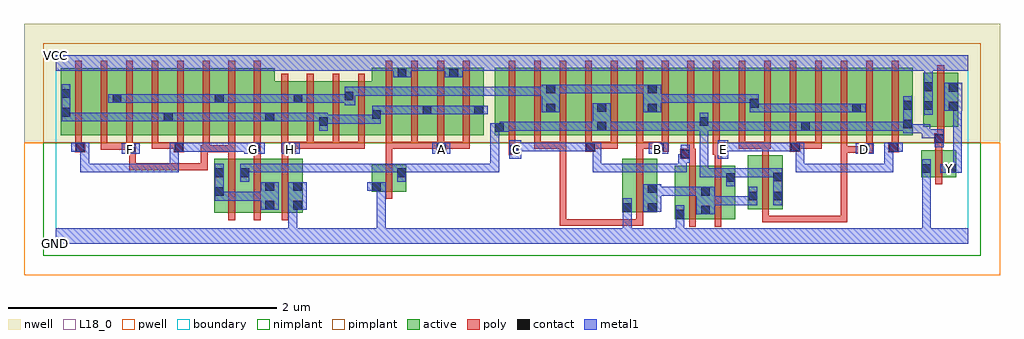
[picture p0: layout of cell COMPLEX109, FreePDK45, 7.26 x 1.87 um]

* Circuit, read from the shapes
.subckt COMPLEX109 A B C D E F G GND H VCC Y
M1 n1 F n2 VSUBS nfet w=0.4u l=0.05u
M2 n2 G n1 VSUBS nfet w=0.4u l=0.05u
M3 GND H n2 VSUBS nfet w=0.4u l=0.05u
M4 n1 A GND VSUBS nfet w=0.2u l=0.05u
M5 n3 B GND VSUBS nfet w=0.4u l=0.05u
M6 n3 C GND VSUBS nfet w=0.4u l=0.05u
M7 n1 E n3 VSUBS nfet w=0.4u l=0.05u
M8 n1 D n3 VSUBS nfet w=0.4u l=0.05u
M9 Y n1 GND VSUBS nfet w=0.2u l=0.05u
M10 n4 G n5 n6 pfet w=0.5u l=0.05u
M11 n7 F n4 n6 pfet w=0.5u l=0.05u
M12 n8 F n7 n6 pfet w=0.5u l=0.05u
M13 n5 G n8 n6 pfet w=0.5u l=0.05u
M14 n9 G n5 n6 pfet w=0.5u l=0.05u
M15 n7 F n9 n6 pfet w=0.5u l=0.05u
M16 n10 F n7 n6 pfet w=0.5u l=0.05u
M17 n5 G n10 n6 pfet w=0.5u l=0.05u
M18 n7 H n5 n6 pfet w=0.4u l=0.05u m=4
M19 VCC A n5 n6 pfet w=0.5u l=0.05u m=4
M20 n11 C n1 n6 pfet w=0.5u l=0.05u
M21 n7 B n11 n6 pfet w=0.5u l=0.05u
M22 n12 B n7 n6 pfet w=0.5u l=0.05u
M23 n1 C n12 n6 pfet w=0.5u l=0.05u
M24 n13 C n1 n6 pfet w=0.5u l=0.05u
M25 n7 B n13 n6 pfet w=0.5u l=0.05u
M26 n14 B n7 n6 pfet w=0.5u l=0.05u
M27 n1 C n14 n6 pfet w=0.5u l=0.05u
M28 n15 E n1 n6 pfet w=0.5u l=0.05u
M29 n7 D n15 n6 pfet w=0.5u l=0.05u
M30 n16 D n7 n6 pfet w=0.5u l=0.05u
M31 n1 E n16 n6 pfet w=0.5u l=0.05u
M32 n17 E n1 n6 pfet w=0.5u l=0.05u
M33 n7 D n17 n6 pfet w=0.5u l=0.05u
M34 n18 D n7 n6 pfet w=0.5u l=0.05u
M35 n1 E n18 n6 pfet w=0.5u l=0.05u
M36 Y n1 VCC n6 pfet w=0.4u l=0.05u
.ends

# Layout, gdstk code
import gdstk
lib = gdstk.Library(unit=1e-6, precision=1e-09)
def R(c, l, rs):  # rectangles x0, y0, x1, y1
    for r in rs: c.add(gdstk.rectangle(r[:2], r[2:], *l))
def A(c, l, x, y, w, h, nx, ny, dx, dy):  # array of equal rectangles
    R(c, l, [(x+i*dx, y+j*dy, x+i*dx+w, y+j*dy+h) for i in range(nx) for j in range(ny)])
active = (1, 0)
pwell = (2, 0)
nwell = (3, 0)
nimplant = (4, 0)
pimplant = (5, 0)
poly = (9, 0)
contact = (10, 0)
metal1 = (11, 0)
L18_0 = (18, 0)
boundary = (235, 0)

complex109 = lib.new_cell('COMPLEX109')
A(complex109, active, 0.04, 0.805, 0.225, 0.5, 4, 1, 0.38, 0)
A(complex109, active, 0.265, 0.805, 0.23, 0.5, 3, 1, 0.38, 0)
A(complex109, active, 3.265, 0.807, 0.225, 0.5, 3, 1, 0.38, 0)
A(complex109, active, 4.4, 0.807, 0.075, 0.393, 3, 1, 0.76, 0)
A(complex109, active, 5.01, 0.807, 0.225, 0.5, 4, 1, 0.38, 0)
A(complex109, active, 5.16, 0.807, 0.23, 0.5, 3, 1, 0.38, 0)
R(complex109, active, [(4.607,0.18,4.872,0.58), (4.607,0.18,4.682,0.487), (4.797,0.18,5.057,0.58), (4.797,0.2,4.872,0.492), (1.18,0.23,1.255,0.63), (1.18,0.23,1.445,0.63), (1.37,0.23,1.63,0.63), (1.555,0.23,1.63,0.492), (1.555,0.23,1.837,0.63), (1.762,0.23,1.837,0.492), (4.215,0.232,4.29,0.632), (4.215,0.232,4.475,0.632), (4.4,0.232,4.475,0.537), (5.15,0.257,5.225,0.657), (5.15,0.257,5.41,0.657), (5.335,0.257,5.41,0.657), (1.37,0.295,1.445,0.63), (4.982,0.295,5.057,0.58), (2.35,0.387,2.425,0.587), (2.35,0.387,2.61,0.587), (2.535,0.457,2.61,0.587), (6.44,0.495,6.515,0.695), (6.44,0.495,6.7,0.695), (6.625,0.495,6.7,0.695), (0.04,0.805,0.145,1.2), (1.18,0.805,1.255,1.2), (1.405,0.805,1.63,1.305), (0.42,0.807,0.495,1.2), (0.8,0.807,0.875,1.07), (1.555,0.807,1.84,1.207), (1.765,0.807,2.03,1.207), (1.955,0.807,2.22,1.207), (2.145,0.807,2.425,1.207), (2.35,0.807,2.615,1.307), (2.54,0.807,2.8,1.307), (2.54,0.807,2.615,1.307), (2.725,0.807,2.8,1.07), (2.725,0.807,3,1.307), (2.925,0.807,3.185,1.307), (2.925,0.807,3,1.307), (3.11,0.807,3.185,1.07), (3.265,0.807,3.37,1.07), (3.49,0.807,3.72,1.307), (3.645,0.807,3.72,1.2), (3.87,0.807,4.1,1.307), (4.025,0.807,4.1,1.07), (4.25,0.807,4.475,1.307), (4.4,0.807,4.63,1.307), (4.63,0.807,4.86,1.307), (4.785,0.807,5.01,1.307), (4.785,0.807,4.86,1.07), (5.54,0.807,5.615,1.07), (6.3,0.807,6.375,1.2), (1.955,0.817,2.03,1.07), (6.455,0.87,6.715,1.27), (6.455,0.87,6.53,1.205), (6.64,0.87,6.715,1.2), (1.555,0.905,1.63,1.07), (1.765,0.907,1.84,1.2), (2.145,0.907,2.22,1.2), (2.35,0.907,2.425,1.07)])
R(complex109, pwell, [(-0.235,-0.235,7.025,0.75)])
R(complex109, nwell, [(-0.235,0.75,7.025,1.635)])
R(complex109, nimplant, [(-0.09,-0.09,6.88,0.75)])
R(complex109, pimplant, [(-0.09,0.75,6.88,1.49)])
A(complex109, poly, 1.68, 0.707, 0.05, 0.095, 4, 1, 0.19, 0)
A(complex109, poly, 3.56, 0.707, 0.05, 0.095, 6, 1, 0.19, 0)
A(complex109, poly, 5.08, 0.707, 0.05, 0.095, 4, 1, 0.19, 0)
A(complex109, poly, 0.145, 0.75, 0.05, 0.61, 8, 1, 0.19, 0)
A(complex109, poly, 1.68, 0.752, 0.05, 0.51, 4, 1, 0.19, 0)
A(complex109, poly, 3.37, 0.752, 0.05, 0.61, 16, 1, 0.19, 0)
R(complex109, poly, [(4.712,0.125,4.762,0.635), (4.902,0.125,4.952,0.635), (3.75,0.132,3.8,0.182), (3.75,0.132,3.8,0.182), (3.75,0.132,3.8,0.182), (3.75,0.132,3.932,0.182), (3.75,0.132,3.8,0.757), (3.882,0.132,3.932,0.182), (3.882,0.132,3.932,0.182), (3.882,0.132,3.932,0.182), (3.882,0.132,3.932,0.182), (3.882,0.132,3.932,0.182), (3.882,0.132,3.932,0.182), (3.882,0.132,3.932,0.182), (3.882,0.132,4.147,0.182), (4.097,0.132,4.147,0.182), (4.097,0.132,4.147,0.182), (4.097,0.132,4.147,0.182), (4.097,0.132,4.37,0.182), (4.32,0.132,4.37,0.227), (4.32,0.132,4.37,0.182), (4.32,0.132,4.37,0.182), (4.32,0.132,4.37,0.182), (5.255,0.157,5.305,0.252), (5.255,0.157,5.305,0.207), (5.255,0.157,5.305,0.207), (5.255,0.157,5.305,0.207), (5.255,0.157,5.457,0.207), (5.407,0.157,5.457,0.207), (5.407,0.157,5.457,0.207), (5.407,0.157,5.457,0.207), (5.407,0.157,5.457,0.207), (5.407,0.157,5.457,0.207), (5.407,0.157,5.672,0.207), (5.622,0.157,5.672,0.207), (5.622,0.157,5.89,0.207), (5.84,0.157,5.89,0.207), (5.84,0.157,5.89,0.207), (5.84,0.157,5.89,0.207), (5.84,0.157,5.89,0.207), (5.84,0.157,5.89,0.207), (5.84,0.157,5.89,0.725), (1.285,0.175,1.335,0.685), (1.475,0.175,1.525,0.685), (1.682,0.175,1.732,0.685), (4.32,0.177,4.37,0.687), (5.255,0.202,5.305,0.712), (2.455,0.332,2.505,0.642), (6.545,0.44,6.595,0.75), (0.547,0.547,0.597,0.597), (0.547,0.547,0.597,0.597), (0.547,0.547,0.597,0.597), (0.547,0.547,0.73,0.597), (0.547,0.547,0.597,0.725), (0.68,0.547,0.73,0.597), (0.68,0.547,0.73,0.597), (0.68,0.547,0.73,0.597), (0.68,0.547,0.95,0.597), (0.9,0.547,0.95,0.597), (0.9,0.547,1.13,0.597), (1.08,0.547,1.13,0.597), (1.08,0.547,1.13,0.597), (1.08,0.547,1.13,0.597), (1.08,0.547,1.13,0.597), (1.08,0.547,1.13,0.597), (1.08,0.547,1.13,0.73), (4.712,0.585,4.762,0.68), (4.902,0.585,4.952,0.712), (2.455,0.592,2.505,0.757), (4.647,0.63,4.762,0.705), (1.285,0.635,1.335,0.73), (1.475,0.635,1.525,0.73), (1.682,0.635,1.732,0.73), (4.32,0.637,4.37,0.757), (4.7,0.655,4.75,0.802), (3.37,0.662,3.445,0.737), (4.89,0.662,4.997,0.737), (5.255,0.662,5.305,0.757), (0.522,0.675,0.597,0.75), (0.547,0.675,0.597,0.725), (0.547,0.675,0.597,0.725), (5.84,0.675,5.89,0.725), (5.84,0.675,5.89,0.725), (5.84,0.675,5.89,0.725), (5.84,0.675,5.89,0.725), (5.84,0.675,5.89,0.725), (5.84,0.675,6.032,0.725), (5.84,0.675,5.89,0.802), (5.982,0.675,6.032,0.725), (5.982,0.675,6.032,0.725), (5.982,0.675,6.08,0.75), (0.145,0.68,0.22,0.755), (0.88,0.68,0.955,0.755), (1.08,0.68,1.145,0.73), (1.095,0.68,1.145,0.8), (1.095,0.68,1.335,0.73), (1.285,0.68,1.335,0.73), (1.285,0.68,1.335,0.73), (1.285,0.68,1.335,0.73), (1.285,0.68,1.335,0.8), (1.45,0.68,1.525,0.755), (1.68,0.68,1.787,0.757), (6.195,0.68,6.27,0.755), (2.832,0.682,2.907,0.757), (3.94,0.682,4.015,0.757), (4.452,0.682,4.56,0.757), (5.46,0.682,5.54,0.757), (3.37,0.687,3.42,0.802), (4.89,0.687,4.94,0.802), (0.335,0.7,0.385,0.75), (0.335,0.7,0.385,0.75), (0.335,0.7,0.385,0.75), (0.335,0.7,0.572,0.75), (0.335,0.7,0.385,0.8), (0.525,0.7,0.575,0.8), (6.03,0.7,6.08,0.802), (6.545,0.7,6.595,0.795), (0.145,0.705,0.195,0.8), (0.715,0.705,0.765,0.8), (0.715,0.705,0.765,0.755), (0.715,0.705,0.93,0.755), (0.88,0.705,0.93,0.755), (0.88,0.705,0.93,0.755), (0.905,0.705,0.955,0.8), (1.475,0.705,1.525,0.8), (6.22,0.705,6.27,0.802), (1.737,0.707,1.787,0.757), (1.737,0.707,1.787,0.757), (1.737,0.707,1.92,0.757), (1.87,0.707,1.92,0.757), (1.87,0.707,2.11,0.757), (2.06,0.707,2.11,0.757), (2.06,0.707,2.11,0.757), (2.06,0.707,2.11,0.757), (2.06,0.707,2.3,0.757), (2.25,0.707,2.3,0.757), (2.25,0.707,2.3,0.757), (2.25,0.707,2.3,0.757), (2.455,0.707,2.505,0.802), (2.455,0.707,2.505,0.757), (2.455,0.707,2.695,0.757), (2.645,0.707,2.695,0.802), (2.645,0.707,2.695,0.757), (2.645,0.707,2.695,0.757), (2.645,0.707,2.695,0.757), (2.645,0.707,2.882,0.757), (2.832,0.707,2.882,0.757), (2.832,0.707,2.882,0.757), (2.84,0.707,2.89,0.802), (2.857,0.707,3.08,0.757), (3.03,0.707,3.08,0.802), (3.03,0.707,3.08,0.757), (3.03,0.707,3.08,0.757), (3.03,0.707,3.08,0.757), (3.56,0.707,3.61,0.757), (3.56,0.707,3.61,0.757), (3.56,0.707,3.61,0.757), (3.56,0.707,3.8,0.757), (3.75,0.707,3.8,0.757), (3.75,0.707,3.8,0.757), (3.75,0.707,3.8,0.757), (3.965,0.707,4.18,0.757), (4.13,0.707,4.18,0.757), (4.13,0.707,4.18,0.757), (4.13,0.707,4.18,0.757), (4.32,0.707,4.37,0.757), (4.32,0.707,4.502,0.757), (4.452,0.707,4.502,0.757), (4.452,0.707,4.502,0.757), (5.08,0.707,5.13,0.757), (5.08,0.707,5.13,0.757), (5.08,0.707,5.13,0.757), (5.08,0.707,5.305,0.757), (5.255,0.707,5.32,0.757), (5.49,0.707,5.54,0.757), (5.49,0.707,5.54,0.757), (5.49,0.707,5.7,0.757), (5.65,0.707,5.7,0.757), (6.535,0.745,6.61,0.82), (2.455,0.752,2.505,1.362), (2.645,0.752,2.695,1.362), (2.84,0.752,2.89,1.362), (3.03,0.752,3.08,1.362), (6.56,0.77,6.61,0.865), (6.56,0.815,6.61,1.325)])
R(complex109, contact, [(4.612,0.185,4.677,0.25), (4.802,0.217,4.867,0.282), (4.22,0.237,4.285,0.302), (4.405,0.237,4.47,0.302), (1.56,0.252,1.625,0.317), (1.767,0.252,1.832,0.317), (5.155,0.322,5.22,0.387), (5.34,0.322,5.405,0.387), (1.185,0.355,1.25,0.42), (4.802,0.357,4.867,0.422), (4.405,0.377,4.47,0.442), (1.56,0.392,1.625,0.457), (1.767,0.392,1.832,0.457), (2.355,0.392,2.42,0.457), (4.987,0.46,5.052,0.525), (5.34,0.462,5.405,0.527), (1.185,0.495,1.25,0.56), (1.375,0.495,1.44,0.56), (2.54,0.495,2.605,0.56), (6.445,0.527,6.51,0.592), (6.63,0.527,6.695,0.592), (4.652,0.635,4.717,0.7), (3.375,0.667,3.44,0.732), (4.927,0.667,4.992,0.732), (0.527,0.68,0.592,0.745), (5.987,0.68,6.052,0.745), (0.15,0.685,0.215,0.75), (0.885,0.685,0.95,0.75), (1.455,0.685,1.52,0.75), (1.717,0.685,1.782,0.75), (6.2,0.685,6.265,0.75), (2.837,0.687,2.902,0.752), (3.945,0.687,4.01,0.752), (4.457,0.687,4.522,0.752), (5.47,0.687,5.535,0.752), (6.54,0.75,6.605,0.815), (3.27,0.832,3.335,0.897), (4.03,0.84,4.095,0.905), (5.545,0.84,5.61,0.905), (6.305,0.857,6.37,0.922), (1.96,0.875,2.025,0.94), (4.79,0.875,4.855,0.94), (0.805,0.91,0.87,0.975), (1.56,0.91,1.625,0.975), (2.355,0.927,2.42,0.992), (0.045,0.945,0.11,1.01), (2.73,0.962,2.795,1.027), (3.115,0.962,3.18,1.027), (3.65,0.977,3.715,1.042), (4.405,0.977,4.47,1.042), (5.925,0.977,5.99,1.042), (4.03,0.98,4.095,1.045), (6.645,0.99,6.71,1.055), (6.46,0.995,6.525,1.06), (6.305,0.997,6.37,1.062), (5.165,1.012,5.23,1.077), (0.425,1.047,0.49,1.112), (1.185,1.047,1.25,1.112), (1.77,1.047,1.835,1.112), (2.15,1.065,2.215,1.13), (0.045,1.085,0.11,1.15), (3.65,1.117,3.715,1.182), (4.405,1.117,4.47,1.182), (6.645,1.13,6.71,1.195), (6.46,1.135,6.525,1.2), (2.545,1.237,2.61,1.302), (2.93,1.237,2.995,1.302)])
R(complex109, metal1, [(0,0,6.79,0.115), (1.732,0.05,1.797,0.115), (1.732,0.05,1.797,0.115), (1.732,0.05,1.797,0.317), (2.39,0.05,2.455,0.115), (2.39,0.05,2.455,0.115), (2.39,0.05,2.455,0.457), (4.22,0.05,4.285,0.115), (4.22,0.05,4.285,0.115), (4.22,0.05,4.285,0.267), (4.612,0.05,4.677,0.215), (6.445,0.05,6.51,0.115), (6.445,0.05,6.51,0.115), (6.445,0.05,6.51,0.557), (4.612,0.15,4.677,0.215), (4.612,0.15,4.677,0.215), (4.612,0.15,4.677,0.285), (4.22,0.202,4.285,0.337), (4.767,0.217,4.902,0.422), (4.37,0.237,4.505,0.442), (1.525,0.252,1.66,0.457), (1.732,0.252,1.867,0.457), (4.837,0.287,5.04,0.352), (4.975,0.287,5.04,0.352), (4.975,0.287,5.04,0.352), (4.975,0.287,5.04,0.352), (4.975,0.287,5.22,0.352), (5.155,0.287,5.22,0.352), (5.155,0.287,5.22,0.352), (5.155,0.287,5.22,0.422), (5.34,0.287,5.405,0.562), (1.185,0.32,1.25,0.595), (1.185,0.32,1.26,0.385), (1.195,0.32,1.26,0.385), (1.195,0.32,1.422,0.385), (1.357,0.32,1.422,0.385), (1.357,0.32,1.422,0.385), (1.357,0.32,1.422,0.385), (1.357,0.32,1.59,0.385), (4.44,0.357,4.505,0.422), (4.44,0.357,4.505,0.422), (4.44,0.357,4.695,0.422), (4.63,0.357,4.695,0.422), (4.63,0.357,4.695,0.422), (4.63,0.357,4.695,0.422), (4.63,0.357,4.832,0.422), (2.32,0.392,2.455,0.457), (2.39,0.392,2.455,0.457), (2.39,0.392,2.455,0.457), (2.39,0.392,2.455,0.457), (2.39,0.392,2.455,0.457), (4.987,0.425,5.052,0.56), (1.375,0.46,1.44,0.595), (2.54,0.46,2.605,0.595), (6.445,0.492,6.51,0.557), (6.445,0.492,6.51,0.557), (6.445,0.492,6.51,0.557), (6.445,0.492,6.51,0.557), (6.445,0.492,6.51,0.627), (4.79,0.495,4.855,0.56), (4.79,0.495,5.052,0.56), (4.79,0.495,4.855,0.905), (4.987,0.495,5.052,0.56), (4.987,0.495,5.052,0.56), (4.987,0.495,5.225,0.56), (5.16,0.495,5.225,0.56), (5.16,0.495,5.225,0.56), (5.16,0.495,5.225,0.56), (5.16,0.495,5.362,0.56), (5.297,0.495,5.362,0.56), (5.297,0.495,5.405,0.56), (6.582,0.527,6.742,0.592), (6.677,0.527,6.742,1.055), (0.185,0.53,0.25,0.595), (0.185,0.53,0.387,0.595), (0.185,0.53,0.25,0.75), (0.322,0.53,0.387,0.595), (0.322,0.53,0.387,0.595), (0.322,0.53,0.387,0.595), (0.322,0.53,0.525,0.595), (0.46,0.53,0.525,0.595), (0.46,0.53,0.662,0.595), (0.597,0.53,0.662,0.595), (0.597,0.53,0.662,0.595), (0.597,0.53,0.662,0.595), (0.597,0.53,0.915,0.595), (0.85,0.53,0.915,0.595), (0.85,0.53,0.915,0.75), (1.375,0.53,1.61,0.595), (1.545,0.53,1.61,0.595), (1.545,0.53,1.61,0.595), (1.545,0.53,1.61,0.595), (1.545,0.53,1.817,0.595), (1.752,0.53,1.817,0.595), (1.752,0.53,1.817,0.595), (1.752,0.53,1.817,0.595), (1.752,0.53,1.955,0.595), (1.89,0.53,1.955,0.595), (1.89,0.53,2.007,0.595), (1.942,0.53,2.007,0.595), (1.942,0.53,2.092,0.595), (2.027,0.53,2.092,0.595), (2.027,0.53,2.247,0.595), (2.182,0.53,2.247,0.595), (2.182,0.53,2.247,0.595), (2.182,0.53,2.247,0.595), (2.182,0.53,2.42,0.595), (2.355,0.53,2.42,0.595), (2.355,0.53,2.42,0.595), (2.355,0.53,2.42,0.595), (2.355,0.53,2.605,0.595), (2.54,0.53,2.605,0.595), (2.54,0.53,2.605,0.595), (2.54,0.53,2.822,0.595), (2.757,0.53,2.822,0.595), (2.757,0.53,2.822,0.595), (2.757,0.53,2.822,0.595), (2.757,0.53,2.985,0.595), (2.92,0.53,2.985,0.595), (2.92,0.53,3.135,0.595), (3.07,0.53,3.135,0.595), (3.07,0.53,3.157,0.595), (3.092,0.53,3.157,0.595), (3.092,0.53,3.157,0.595), (3.092,0.53,3.157,0.595), (3.092,0.53,3.3,0.595), (3.235,0.53,3.3,0.595), (3.235,0.53,3.3,0.897), (3.995,0.53,4.06,0.595), (3.995,0.53,4.202,0.595), (3.995,0.53,4.06,0.752), (4.137,0.53,4.202,0.595), (4.137,0.53,4.267,0.595), (4.202,0.53,4.267,0.595), (4.202,0.53,4.34,0.595), (4.275,0.53,4.34,0.595), (4.275,0.53,4.435,0.595), (4.37,0.53,4.435,0.595), (4.37,0.53,4.557,0.595), (4.492,0.53,4.557,0.595), (4.492,0.53,4.695,0.595), (4.63,0.53,4.695,0.595), (4.63,0.53,4.695,0.665), (5.505,0.53,5.57,0.595), (5.505,0.53,5.712,0.595), (5.505,0.53,5.57,0.752), (5.647,0.53,5.712,0.595), (5.647,0.53,5.782,0.595), (5.717,0.53,5.782,0.595), (5.717,0.53,5.88,0.595), (5.815,0.53,5.88,0.595), (5.815,0.53,5.955,0.595), (5.89,0.53,5.955,0.595), (5.89,0.53,6.017,0.595), (5.952,0.53,6.017,0.595), (5.952,0.53,6.23,0.595), (6.165,0.53,6.23,0.595), (6.165,0.53,6.23,0.75), (4.63,0.6,4.695,0.665), (4.63,0.6,4.717,0.665), (4.652,0.6,4.717,0.735), (3.375,0.632,3.462,0.767), (4.927,0.632,5.002,0.767), (0.492,0.667,0.627,0.745), (1.402,0.667,1.555,0.75), (1.682,0.667,1.817,0.75), (2.802,0.667,2.937,0.752), (4.412,0.667,4.557,0.752), (5.952,0.667,6.087,0.745), (0.115,0.685,0.25,0.75), (0.185,0.685,0.25,0.75), (0.185,0.685,0.25,0.75), (0.85,0.685,0.915,0.75), (0.85,0.685,0.915,0.75), (0.85,0.685,0.985,0.75), (0.92,0.685,1.077,0.75), (1.012,0.685,1.077,0.75), (1.012,0.685,1.122,0.75), (1.057,0.685,1.122,0.75), (1.057,0.685,1.26,0.75), (1.195,0.685,1.26,0.75), (1.195,0.685,1.26,0.75), (1.195,0.685,1.26,0.75), (1.195,0.685,1.452,0.75), (1.387,0.685,1.452,0.75), (1.387,0.685,1.467,0.75), (6.165,0.685,6.23,0.75), (6.165,0.685,6.23,0.75), (6.165,0.685,6.3,0.75), (3.397,0.687,3.507,0.752), (3.442,0.687,3.507,0.752), (3.442,0.687,3.645,0.752), (3.58,0.687,3.645,0.752), (3.58,0.687,3.645,0.752), (3.58,0.687,3.645,0.752), (3.58,0.687,3.782,0.752), (3.717,0.687,3.782,0.752), (3.717,0.687,3.922,0.752), (3.857,0.687,3.922,0.752), (3.857,0.687,3.975,0.752), (3.91,0.687,4.045,0.752), (3.98,0.687,4.06,0.752), (3.995,0.687,4.06,0.752), (4.937,0.687,5.04,0.752), (4.975,0.687,5.04,0.752), (4.975,0.687,5.225,0.752), (5.16,0.687,5.225,0.752), (5.16,0.687,5.225,0.752), (5.16,0.687,5.225,0.752), (5.16,0.687,5.362,0.752), (5.297,0.687,5.362,0.752), (5.297,0.687,5.407,0.752), (5.342,0.687,5.407,0.752), (5.342,0.687,5.5,0.752), (5.435,0.687,5.57,0.752), (5.505,0.687,5.57,0.752), (5.505,0.687,5.57,0.752), (6.54,0.715,6.605,0.85), (6.442,0.785,6.507,0.85), (6.442,0.785,6.605,0.85), (6.442,0.785,6.507,0.887), (6.305,0.822,6.37,0.887), (6.305,0.822,6.37,0.887), (6.305,0.822,6.37,1.097), (6.305,0.822,6.507,0.887), (6.442,0.822,6.507,0.887), (3.235,0.832,3.37,0.897), (3.305,0.832,3.37,0.905), (1.96,0.84,2.025,0.975), (3.305,0.84,3.37,0.905), (3.305,0.84,3.37,0.905), (3.305,0.84,3.37,0.905), (3.305,0.84,3.507,0.905), (3.442,0.84,3.507,0.905), (3.442,0.84,3.645,0.905), (3.58,0.84,3.645,0.905), (3.58,0.84,3.645,0.905), (3.58,0.84,3.645,0.905), (3.58,0.84,3.782,0.905), (3.717,0.84,3.782,0.905), (3.717,0.84,3.92,0.905), (3.855,0.84,3.92,0.905), (3.855,0.84,3.92,0.905), (3.855,0.84,3.92,0.905), (3.855,0.84,4.06,0.905), (3.995,0.84,4.13,1.045), (4.065,0.84,4.202,0.905), (4.137,0.84,4.202,0.905), (4.137,0.84,4.297,0.905), (4.232,0.84,4.297,0.905), (4.232,0.84,4.34,0.905), (4.275,0.84,4.34,0.905), (4.275,0.84,4.477,0.905), (4.412,0.84,4.477,0.905), (4.412,0.84,4.477,0.905), (4.412,0.84,4.477,0.905), (4.412,0.84,4.642,0.905), (4.577,0.84,4.642,0.905), (4.577,0.84,4.855,0.905), (4.79,0.84,4.855,0.905), (4.79,0.84,4.855,0.905), (4.79,0.84,4.855,0.905), (4.79,0.84,4.855,0.905), (4.79,0.84,4.855,0.905), (4.79,0.84,4.855,0.905), (4.79,0.84,4.855,0.975), (4.79,0.84,5.04,0.905), (4.975,0.84,5.04,0.905), (4.975,0.84,5.04,0.905), (4.975,0.84,5.04,0.905), (4.975,0.84,5.225,0.905), (5.16,0.84,5.225,0.905), (5.16,0.84,5.225,0.905), (5.16,0.84,5.225,0.905), (5.16,0.84,5.362,0.905), (5.297,0.84,5.362,0.905), (5.297,0.84,5.432,0.905), (5.367,0.84,5.432,0.905), (5.367,0.84,5.575,0.905), (5.51,0.84,5.575,0.905), (5.51,0.84,5.575,0.905), (5.51,0.84,5.645,0.905), (5.58,0.84,5.712,0.905), (5.647,0.84,5.712,0.905), (5.647,0.84,5.812,0.905), (5.747,0.84,5.812,0.905), (5.747,0.84,5.88,0.905), (5.815,0.84,5.88,0.905), (5.815,0.84,5.955,0.905), (5.89,0.84,5.955,0.905), (5.89,0.84,6.092,0.905), (6.027,0.84,6.092,0.905), (6.027,0.84,6.092,0.905), (6.027,0.84,6.092,0.905), (6.027,0.84,6.37,0.905), (6.305,0.84,6.37,0.905), (6.305,0.84,6.37,0.905), (1.96,0.892,2.092,0.957), (2.027,0.892,2.092,0.957), (2.027,0.892,2.23,0.957), (2.165,0.892,2.23,0.957), (2.165,0.892,2.23,0.957), (2.165,0.892,2.23,0.957), (2.165,0.892,2.42,0.957), (2.355,0.892,2.42,1.027), (0.045,0.91,0.11,0.975), (0.045,0.91,0.11,0.975), (0.045,0.91,0.11,1.185), (0.045,0.91,0.25,0.975), (0.185,0.91,0.25,0.975), (0.185,0.91,0.387,0.975), (0.322,0.91,0.387,0.975), (0.322,0.91,0.387,0.975), (0.322,0.91,0.387,0.975), (0.322,0.91,0.525,0.975), (0.46,0.91,0.525,0.975), (0.46,0.91,0.697,0.975), (0.632,0.91,0.697,0.975), (0.632,0.91,0.697,0.975), (0.632,0.91,0.697,0.975), (0.632,0.91,0.835,0.975), (0.77,0.91,0.905,0.975), (0.84,0.91,0.905,0.975), (0.84,0.91,0.905,0.975), (0.84,0.91,1.077,0.975), (1.012,0.91,1.077,0.975), (1.012,0.91,1.122,0.975), (1.057,0.91,1.122,0.975), (1.057,0.91,1.26,0.975), (1.195,0.91,1.26,0.975), (1.195,0.91,1.26,0.975), (1.195,0.91,1.26,0.975), (1.195,0.91,1.422,0.975), (1.357,0.91,1.422,0.975), (1.357,0.91,1.59,0.975), (1.525,0.91,1.59,0.975), (1.525,0.91,1.59,0.975), (1.525,0.91,1.66,0.975), (1.595,0.91,1.817,0.975), (1.752,0.91,1.817,0.975), (1.752,0.91,1.83,0.975), (1.765,0.91,1.83,0.975), (1.765,0.91,1.955,0.975), (1.89,0.91,1.955,0.975), (1.89,0.91,2.025,0.975), (6.46,0.96,6.525,1.235), (2.355,0.962,2.42,1.027), (2.355,0.962,2.42,1.027), (2.355,0.962,2.557,1.027), (2.492,0.962,2.557,1.027), (2.492,0.962,2.557,1.027), (2.492,0.962,2.557,1.027), (2.492,0.962,2.76,1.027), (2.695,0.962,2.83,1.027), (2.765,0.962,2.83,1.027), (2.765,0.962,2.83,1.027), (2.765,0.962,2.967,1.027), (2.902,0.962,2.967,1.027), (2.902,0.962,2.967,1.027), (2.902,0.962,2.967,1.027), (2.902,0.962,3.145,1.027), (3.08,0.962,3.215,1.027), (3.615,0.977,3.75,1.182), (4.37,0.977,4.505,1.182), (5.165,0.977,5.23,1.112), (5.165,0.977,5.362,1.042), (5.297,0.977,5.362,1.042), (5.297,0.977,5.432,1.042), (5.367,0.977,5.432,1.042), (5.367,0.977,5.57,1.042), (5.505,0.977,5.57,1.042), (5.505,0.977,5.57,1.042), (5.505,0.977,5.57,1.042), (5.505,0.977,5.712,1.042), (5.647,0.977,5.712,1.042), (5.647,0.977,5.782,1.042), (5.717,0.977,5.782,1.042), (5.717,0.977,5.85,1.042), (5.785,0.977,5.85,1.042), (5.785,0.977,5.955,1.042), (5.89,0.977,6.025,1.042), (6.61,0.99,6.745,1.195), (6.677,0.99,6.742,1.055), (6.677,0.99,6.742,1.055), (6.677,0.99,6.742,1.055), (6.677,0.99,6.742,1.055), (2.15,1.03,2.23,1.165), (0.39,1.047,0.525,1.112), (0.46,1.047,0.525,1.112), (0.46,1.047,0.525,1.112), (0.46,1.047,0.697,1.112), (0.632,1.047,0.697,1.112), (0.632,1.047,0.697,1.112), (0.632,1.047,0.697,1.112), (0.632,1.047,0.94,1.112), (0.875,1.047,0.94,1.112), (0.875,1.047,0.94,1.112), (0.875,1.047,0.94,1.112), (0.875,1.047,1.077,1.112), (1.012,1.047,1.077,1.112), (1.012,1.047,1.122,1.112), (1.057,1.047,1.122,1.112), (1.057,1.047,1.215,1.112), (1.15,1.047,1.285,1.112), (1.22,1.047,1.285,1.112), (1.22,1.047,1.285,1.112), (1.22,1.047,1.422,1.112), (1.357,1.047,1.422,1.112), (1.357,1.047,1.59,1.112), (1.525,1.047,1.59,1.112), (1.525,1.047,1.59,1.112), (1.525,1.047,1.59,1.112), (1.525,1.047,1.8,1.112), (1.735,1.047,1.8,1.112), (1.735,1.047,1.8,1.112), (1.735,1.047,1.87,1.112), (1.805,1.047,1.955,1.112), (1.89,1.047,1.955,1.112), (1.89,1.047,2.007,1.112), (1.942,1.047,2.007,1.112), (1.942,1.047,2.092,1.112), (2.027,1.047,2.092,1.112), (2.027,1.047,2.215,1.112), (4.44,1.047,4.505,1.112), (4.44,1.047,4.505,1.112), (4.44,1.047,4.642,1.112), (4.577,1.047,4.642,1.112), (4.577,1.047,4.832,1.112), (4.767,1.047,4.832,1.112), (4.767,1.047,4.832,1.112), (4.767,1.047,4.832,1.112), (4.767,1.047,5.04,1.112), (4.975,1.047,5.04,1.112), (4.975,1.047,5.04,1.112), (4.975,1.047,5.04,1.112), (4.975,1.047,5.19,1.112), (5.125,1.047,5.19,1.112), (5.125,1.047,5.23,1.112), (2.165,1.1,2.23,1.165), (2.165,1.1,2.23,1.165), (2.165,1.1,2.385,1.165), (2.32,1.1,2.385,1.165), (2.32,1.1,2.385,1.165), (2.32,1.1,2.385,1.165), (2.32,1.1,2.622,1.165), (2.557,1.1,2.622,1.165), (2.557,1.1,2.622,1.165), (2.557,1.1,2.622,1.165), (2.557,1.1,2.822,1.165), (2.757,1.1,2.822,1.165), (2.757,1.1,2.822,1.165), (2.757,1.1,2.822,1.165), (2.757,1.1,2.967,1.165), (2.902,1.1,2.967,1.165), (2.902,1.1,2.967,1.165), (2.902,1.1,2.967,1.165), (2.902,1.1,3.232,1.165), (3.167,1.1,3.232,1.165), (3.167,1.1,3.37,1.165), (3.305,1.1,3.37,1.165), (3.305,1.1,3.37,1.165), (3.305,1.1,3.37,1.165), (3.305,1.1,3.507,1.165), (3.442,1.1,3.507,1.165), (3.442,1.1,3.645,1.165), (3.58,1.1,3.645,1.165), (3.58,1.1,3.68,1.165), (3.685,1.117,3.782,1.182), (3.717,1.117,3.782,1.182), (3.717,1.117,3.922,1.182), (3.857,1.117,3.922,1.182), (3.857,1.117,3.922,1.182), (3.857,1.117,3.922,1.182), (3.857,1.117,4.13,1.182), (4.065,1.117,4.13,1.182), (4.065,1.117,4.182,1.182), (4.117,1.117,4.182,1.182), (4.117,1.117,4.297,1.182), (4.232,1.117,4.297,1.182), (4.232,1.117,4.34,1.182), (4.275,1.117,4.34,1.182), (4.275,1.117,4.435,1.182), (6.46,1.17,6.525,1.35), (2.51,1.237,2.645,1.302), (2.58,1.237,2.645,1.35), (2.895,1.237,3.03,1.302), (2.965,1.237,3.03,1.35), (0,1.285,6.79,1.4)])
R(complex109, L18_0, [(0,0,6.79,0.115), (1.732,0.05,1.797,0.115), (1.732,0.05,1.797,0.115), (1.732,0.05,1.797,0.317), (2.39,0.05,2.455,0.115), (2.39,0.05,2.455,0.115), (2.39,0.05,2.455,0.457), (4.22,0.05,4.285,0.115), (4.22,0.05,4.285,0.115), (4.22,0.05,4.285,0.267), (4.612,0.05,4.677,0.215), (6.445,0.05,6.51,0.115), (6.445,0.05,6.51,0.115), (6.445,0.05,6.51,0.557), (4.612,0.15,4.677,0.215), (4.612,0.15,4.677,0.215), (4.612,0.15,4.677,0.285), (4.22,0.202,4.285,0.337), (1.732,0.252,1.867,0.457), (2.32,0.392,2.455,0.457), (2.39,0.392,2.455,0.457), (2.39,0.392,2.455,0.457), (2.39,0.392,2.455,0.457), (2.39,0.392,2.455,0.457), (6.445,0.492,6.51,0.557), (6.445,0.492,6.51,0.557), (6.445,0.492,6.51,0.557), (6.445,0.492,6.51,0.557), (6.445,0.492,6.51,0.627), (6.582,0.527,6.742,0.592), (6.617,0.527,6.682,0.592), (6.677,0.527,6.742,1.055), (0.185,0.53,0.25,0.595), (0.185,0.53,0.25,0.75), (0.185,0.53,0.387,0.595), (0.322,0.53,0.387,0.595), (0.322,0.53,0.387,0.595), (0.322,0.53,0.387,0.595), (0.322,0.53,0.525,0.595), (0.46,0.53,0.525,0.595), (0.46,0.53,0.662,0.595), (0.597,0.53,0.662,0.595), (0.597,0.53,0.662,0.595), (0.597,0.53,0.662,0.595), (0.597,0.53,0.915,0.595), (0.85,0.53,0.915,0.595), (0.85,0.53,0.915,0.75), (3.995,0.53,4.06,0.595), (3.995,0.53,4.06,0.752), (3.995,0.53,4.202,0.595), (4.137,0.53,4.202,0.595), (4.137,0.53,4.267,0.595), (4.202,0.53,4.267,0.595), (4.202,0.53,4.34,0.595), (4.275,0.53,4.34,0.595), (4.275,0.53,4.435,0.595), (4.37,0.53,4.435,0.595), (4.37,0.53,4.557,0.595), (4.492,0.53,4.557,0.595), (4.492,0.53,4.695,0.595), (4.63,0.53,4.695,0.595), (4.63,0.53,4.695,0.665), (5.505,0.53,5.57,0.595), (5.505,0.53,5.57,0.752), (5.505,0.53,5.712,0.595), (5.647,0.53,5.782,0.595), (5.647,0.53,5.712,0.595), (5.717,0.53,5.782,0.595), (5.717,0.53,5.88,0.595), (5.815,0.53,5.88,0.595), (5.815,0.53,5.955,0.595), (5.89,0.53,5.955,0.595), (5.89,0.53,6.017,0.595), (5.952,0.53,6.017,0.595), (5.952,0.53,6.23,0.595), (6.165,0.53,6.23,0.595), (6.165,0.53,6.23,0.75), (4.63,0.6,4.695,0.665), (4.63,0.6,4.717,0.665), (4.652,0.6,4.717,0.735), (3.375,0.632,3.462,0.767), (4.927,0.632,5.002,0.767), (0.492,0.667,0.627,0.745), (0.527,0.667,0.592,0.732), (1.402,0.667,1.555,0.75), (1.437,0.667,1.502,0.732), (1.682,0.667,1.817,0.75), (1.717,0.667,1.782,0.732), (2.802,0.667,2.937,0.752), (2.837,0.667,2.902,0.732), (3.397,0.667,3.462,0.732), (4.412,0.667,4.557,0.752), (4.447,0.667,4.512,0.732), (4.937,0.667,5.002,0.732), (5.952,0.667,6.087,0.745), (5.987,0.667,6.052,0.732), (0.115,0.685,0.25,0.75), (0.185,0.685,0.25,0.75), (0.185,0.685,0.25,0.75), (0.85,0.685,0.985,0.75), (0.85,0.685,0.915,0.75), (0.85,0.685,0.915,0.75), (0.92,0.685,1.077,0.75), (1.012,0.685,1.077,0.75), (1.012,0.685,1.122,0.75), (1.057,0.685,1.122,0.75), (1.057,0.685,1.26,0.75), (1.195,0.685,1.26,0.75), (1.195,0.685,1.26,0.75), (1.195,0.685,1.26,0.75), (1.195,0.685,1.452,0.75), (1.387,0.685,1.452,0.75), (1.387,0.685,1.467,0.75), (6.165,0.685,6.3,0.75), (6.165,0.685,6.23,0.75), (6.165,0.685,6.23,0.75), (3.397,0.687,3.507,0.752), (3.442,0.687,3.507,0.752), (3.442,0.687,3.645,0.752), (3.58,0.687,3.645,0.752), (3.58,0.687,3.645,0.752), (3.58,0.687,3.645,0.752), (3.58,0.687,3.782,0.752), (3.717,0.687,3.782,0.752), (3.717,0.687,3.922,0.752), (3.857,0.687,3.922,0.752), (3.857,0.687,3.975,0.752), (3.91,0.687,4.045,0.752), (3.98,0.687,4.06,0.752), (3.995,0.687,4.06,0.752), (4.937,0.687,5.04,0.752), (4.975,0.687,5.04,0.752), (4.975,0.687,5.225,0.752), (5.16,0.687,5.225,0.752), (5.16,0.687,5.225,0.752), (5.16,0.687,5.225,0.752), (5.16,0.687,5.362,0.752), (5.297,0.687,5.362,0.752), (5.297,0.687,5.407,0.752), (5.342,0.687,5.407,0.752), (5.342,0.687,5.5,0.752), (5.435,0.687,5.57,0.752), (5.505,0.687,5.57,0.752), (5.505,0.687,5.57,0.752), (6.46,0.96,6.525,1.235), (6.61,0.99,6.745,1.195), (6.677,0.99,6.742,1.055), (6.677,0.99,6.742,1.055), (6.677,0.99,6.742,1.055), (6.677,0.99,6.742,1.055), (6.46,1.17,6.525,1.35), (2.51,1.237,2.645,1.302), (2.58,1.237,2.645,1.35), (2.895,1.237,3.03,1.302), (2.965,1.237,3.03,1.35), (0,1.285,6.79,1.4)])
R(complex109, boundary, [(0,0,6.79,1.4)])
complex109.add(gdstk.Label('A', (2.87,0.7), layer=11, texttype=0))
complex109.add(gdstk.Label('B', (4.48,0.7), layer=11, texttype=0))
complex109.add(gdstk.Label('C', (3.43,0.7), layer=11, texttype=0))
complex109.add(gdstk.Label('D', (6.02,0.7), layer=11, texttype=0))
complex109.add(gdstk.Label('E', (4.97,0.7), layer=11, texttype=0))
complex109.add(gdstk.Label('F', (0.56,0.7), layer=11, texttype=0))
complex109.add(gdstk.Label('G', (1.47,0.7), layer=11, texttype=0))
complex109.add(gdstk.Label('H', (1.75,0.7), layer=11, texttype=0))
complex109.add(gdstk.Label('Y', (6.65,0.56), layer=11, texttype=0))
complex109.add(gdstk.Label('VCC', (0,1.4), layer=11, texttype=0))
complex109.add(gdstk.Label('GND', (0,0), layer=11, texttype=0))

lib.write_gds('COMPLEX109.gds')
